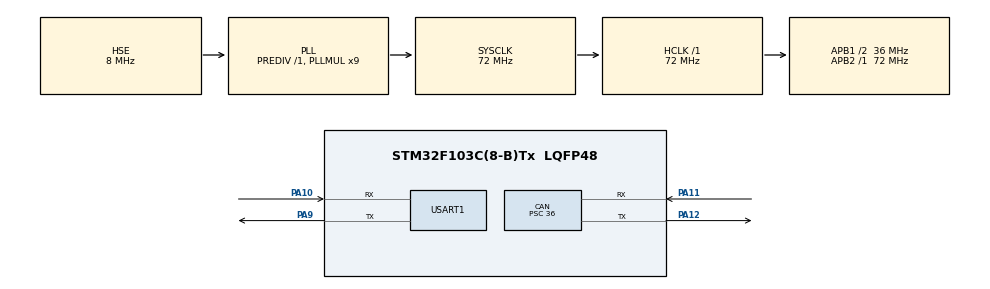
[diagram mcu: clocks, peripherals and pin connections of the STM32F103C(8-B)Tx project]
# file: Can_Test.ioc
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CAN.ABOM=ENABLE
CAN.AWUM=ENABLE
CAN.BS1=CAN_BS1_3TQ
CAN.BS2=CAN_BS2_6TQ
CAN.CalculateBaudRate=100000
CAN.CalculateTimeBit=10000
CAN.CalculateTimeQuantum=1000.0
CAN.Mode=CAN_MODE_SILENT_LOOPBACK
CAN.Prescaler=36
Mcu.Family=STM32F1
Mcu.Name=STM32F103C(8-B)Tx
Mcu.Package=LQFP48
NVIC.PriorityGroup=NVIC_PRIORITYGROUP_4
PA10.Mode=Asynchronous
PA10.Signal=USART1_RX
PA11.Mode=CAN_Activate
PA11.Signal=CAN_RX
PA12.Mode=CAN_Activate
PA12.Signal=CAN_TX
PA13.Mode=Serial_Wire
PA13.Signal=SYS_JTMS-SWDIO
PA14.Mode=Serial_Wire
PA14.Signal=SYS_JTCK-SWCLK
PA9.Mode=Asynchronous
PA9.Signal=USART1_TX
PC14-OSC32_IN.Mode=LSE-External-Oscillator
PC14-OSC32_IN.Signal=RCC_OSC32_IN
PC15-OSC32_OUT.Mode=LSE-External-Oscillator
PC15-OSC32_OUT.Signal=RCC_OSC32_OUT
PD0-OSC_IN.Mode=HSE-External-Oscillator
PD0-OSC_IN.Signal=RCC_OSC_IN
PD1-OSC_OUT.Mode=HSE-External-Oscillator
PD1-OSC_OUT.Signal=RCC_OSC_OUT
ProjectManager.HeapSize=0x200
ProjectManager.StackSize=0x400
ProjectManager.TargetToolchain=MDK-ARM V5.32
RCC.AHBFreq_Value=72000000
RCC.APB1CLKDivider=RCC_HCLK_DIV2
RCC.APB1Freq_Value=36000000
RCC.APB1TimFreq_Value=72000000
RCC.APB2Freq_Value=72000000
RCC.APB2TimFreq_Value=72000000
RCC.HCLKFreq_Value=72000000
RCC.PLLMUL=RCC_PLL_MUL9
RCC.PLLSourceVirtual=RCC_PLLSOURCE_HSE
RCC.SYSCLKFreq_VALUE=72000000
RCC.SYSCLKSource=RCC_SYSCLKSOURCE_PLLCLK
RCC.USBFreq_Value=72000000
USART1.VirtualMode=VM_ASYNC
board=custom

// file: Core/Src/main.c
/* USER CODE BEGIN Header */
/**
 ******************************************************************************
 * @file           : main.c
 * @brief          : Main program body
 ******************************************************************************
 * @attention
 *
 * Copyright (c) 2025 STMicroelectronics.
 * All rights reserved.
 *
 * This software is licensed under terms that can be found in the LICENSE file
 * in the root directory of this software component.
 * If no LICENSE file comes with this software, it is provided AS-IS.
 *
 ******************************************************************************
 */
/* USER CODE END Header */
#include "main.h"
#include "can.h"
#include "usart.h"
#include "gpio.h"

/* USER CODE BEGIN Includes */
#include "string.h"
/* USER CODE END Includes */

void SystemClock_Config(void);

int main(void)
{

  /* MCU Configuration--------------------------------------------------------*/

  /* Reset of all peripherals, Initializes the Flash interface and the Systick. */
  HAL_Init();

  /* Configure the system clock */
  SystemClock_Config();

  /* Initialize all configured peripherals */
  MX_GPIO_Init();
  MX_CAN_Init();
  MX_USART1_UART_Init();
  /* USER CODE BEGIN 2 */

  printf("CAN Test\r\n");

  // 配置CAN过滤器
  Can_Filter_Config();

  // 启动CAN
  HAL_CAN_Start(&hcan);

  // 发送CAN信息
  uint32_t id1 = 0x00000001;
  uint8_t TxData1[] = "aaa";
  Can_Send_Msg(id1, TxData1, strlen((const char *)TxData1));

  uint32_t id2 = 0x00000002;
  uint8_t TxData2[] = "bbb";
  Can_Send_Msg(id2, TxData2, strlen((const char *)TxData2));

  uint32_t id3 = 0x00000003;
  uint8_t TxData3[] = "ccc";
  Can_Send_Msg(id3, TxData3, strlen((const char *)TxData3));

  HAL_Delay(1000);

  RxDataMsg_Info RxDataMsg[8];
  uint8_t msg_cnt = 0;
  Can_Receive_Msg(RxDataMsg,&msg_cnt);
  for (uint8_t i = 0; i < msg_cnt; i++)
  {
    printf("id: %d,data: %s,len: %d\r\n",RxDataMsg[i].id,RxDataMsg[i].data,RxDataMsg[i].len);
  }

  /* USER CODE END 2 */

  /* Infinite loop */
  while (1)
  {

  }
}

void SystemClock_Config(void)
{
  RCC_OscInitTypeDef RCC_OscInitStruct = {0};
  RCC_ClkInitTypeDef RCC_ClkInitStruct = {0};

  /** Initializes the RCC Oscillators according to the specified parameters
   * in the RCC_OscInitTypeDef structure.
   */
  RCC_OscInitStruct.OscillatorType = RCC_OSCILLATORTYPE_HSE;
  RCC_OscInitStruct.HSEState = RCC_HSE_ON;
  RCC_OscInitStruct.HSEPredivValue = RCC_HSE_PREDIV_DIV1;
  RCC_OscInitStruct.HSIState = RCC_HSI_ON;
  RCC_OscInitStruct.PLL.PLLState = RCC_PLL_ON;
  RCC_OscInitStruct.PLL.PLLSource = RCC_PLLSOURCE_HSE;
  RCC_OscInitStruct.PLL.PLLMUL = RCC_PLL_MUL9;
  if (HAL_RCC_OscConfig(&RCC_OscInitStruct) != HAL_OK)
  {
    Error_Handler();
  }

  /** Initializes the CPU, AHB and APB buses clocks
   */
  RCC_ClkInitStruct.ClockType = RCC_CLOCKTYPE_HCLK | RCC_CLOCKTYPE_SYSCLK | RCC_CLOCKTYPE_PCLK1 | RCC_CLOCKTYPE_PCLK2;
  RCC_ClkInitStruct.SYSCLKSource = RCC_SYSCLKSOURCE_PLLCLK;
  RCC_ClkInitStruct.AHBCLKDivider = RCC_SYSCLK_DIV1;
  RCC_ClkInitStruct.APB1CLKDivider = RCC_HCLK_DIV2;
  RCC_ClkInitStruct.APB2CLKDivider = RCC_HCLK_DIV1;

  if (HAL_RCC_ClockConfig(&RCC_ClkInitStruct, FLASH_LATENCY_2) != HAL_OK)
  {
    Error_Handler();
  }
}

void Error_Handler(void)
{
  __disable_irq();
  while (1)
  {
  }
}
